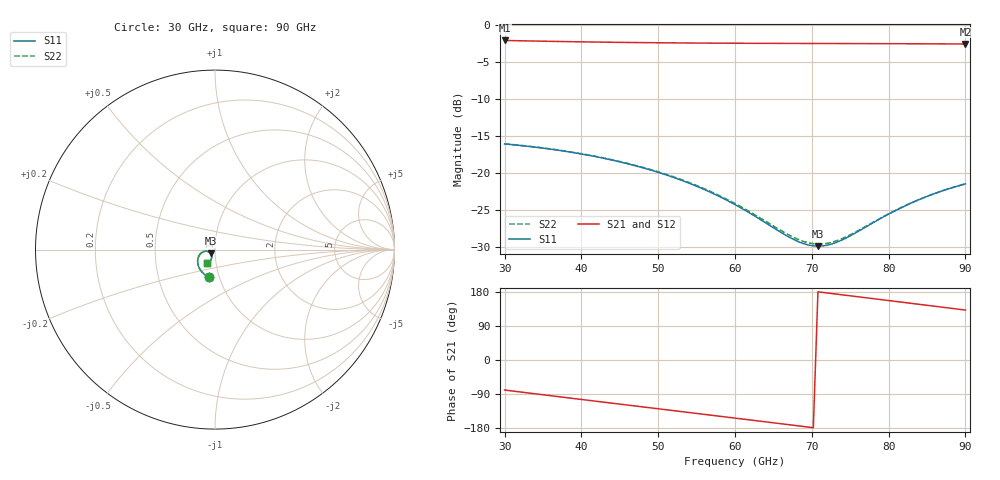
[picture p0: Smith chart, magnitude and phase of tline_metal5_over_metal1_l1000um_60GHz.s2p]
#  GHZ S DB R 50
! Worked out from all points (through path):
!   101 points, 30 GHz to 90 GHz, reference 50 ohm
!   highest |S21| = -2.13 dB at 30 GHz (marker M1); lowest = -2.6 dB at 90 GHz (marker M2)
!   group delay of S21, straight-line fit = 6.88 ps
!   lowest |S11| = -30.0 dB at 70.8 GHz (marker M3), VSWR 1.07, Z = 47.6 - j1.92 ohm
!   |S11| at or under -10 dB: start of sweep to end of sweep
!   |S22| runs from -29.7 to -16.1 dB; largest |S21 - S12| = 0
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30  -16.13 -102.4  -2.13 -79.2  -2.13 -79.2  -16.10 -102.4
32.4  -16.38 -109.8  -2.18 -85.2  -2.18 -85.2  -16.35 -109.7
34.8  -16.67 -117.0  -2.22 -91.2  -2.22 -91.2  -16.64 -116.9
37.2  -17.01 -123.9  -2.27 -97.2  -2.27 -97.2  -16.98 -123.8
40.2  -17.52 -132.2  -2.32 -104.6  -2.32 -104.6  -17.48 -132.1
45  -18.55 -144.6  -2.38 -116.4  -2.38 -116.4  -18.50 -144.4
50.4  -20.10 -156.9  -2.44 -129.7  -2.44 -129.7  -20.03 -156.6
55.2  -21.93 -165.6  -2.48 -141.5  -2.48 -141.5  -21.83 -165.2
57.6  -23.05 -168.7  -2.49 -147.4  -2.49 -147.4  -22.93 -168.3
60  -24.33 -170.5  -2.50 -153.3  -2.50 -153.3  -24.19 -170.0
63.6  -26.54 -169.2  -2.52 -162.2  -2.52 -162.2  -26.34 -168.8
67.2  -28.81 -159.8  -2.53 -171.2  -2.53 -171.2  -28.54 -159.9
69  -29.64 -151.2  -2.53 -175.6  -2.53 -175.6  -29.34 -151.7
70.2  -29.91 -144.3  -2.53 -178.6  -2.53 -178.6  -29.62 -145.1
70.8  -29.95 -140.7  -2.53 179.9  -2.53 179.9  -29.67 -141.7
72  -29.82 -133.6  -2.54 176.9  -2.54 176.9  -29.57 -134.9
73.8  -29.18 -124.3  -2.54 172.4  -2.54 172.4  -29.00 -125.9
76.8  -27.49 -114.7  -2.55 164.9  -2.55 164.9  -27.41 -116.2
80.4  -25.40 -111.1  -2.56 155.9  -2.56 155.9  -25.37 -112.3
82.8  -24.18 -111.7  -2.57 149.9  -2.57 149.9  -24.17 -112.7
85.2  -23.14 -113.7  -2.58 143.9  -2.58 143.9  -23.14 -114.6
90  -21.52 -120.3  -2.60 131.8  -2.60 131.8  -21.53 -121.0
